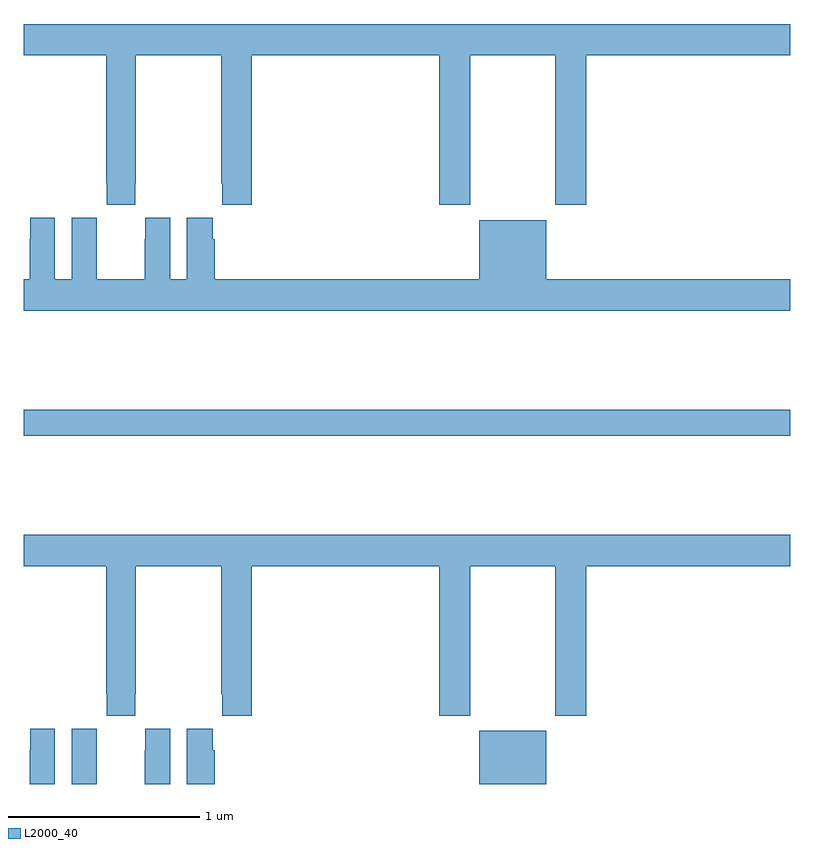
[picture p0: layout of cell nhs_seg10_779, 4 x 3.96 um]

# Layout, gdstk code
import gdstk
lib = gdstk.Library(unit=1e-6, precision=1e-09)
def R(c, l, rs):  # rectangles x0, y0, x1, y1
    for r in rs: c.add(gdstk.rectangle(r[:2], r[2:], *l))
def P(c, l, *ps):  # polygons
    for p in ps: c.add(gdstk.Polygon(p, *l))
L2000_40 = (2000, 40)

nhs_seg10_779 = lib.new_cell('nhs_seg10_779')
R(nhs_seg10_779, L2000_40, [(151.376,1312.5,151.726,1312.777), (149,1314.316,153,1314.452)])
P(nhs_seg10_779, L2000_40, [(149.583,1315.633),(149.586,1315.633),(149.586,1316.3),(150.031,1316.3),(150.031,1315.633),(150.037,1315.633),(150.037,1315.521),(150.191,1315.521),(150.191,1316.3),(151.169,1316.3),(151.169,1315.521),(151.329,1315.521),(151.329,1316.3),(151.774,1316.3),(151.774,1315.521),(151.934,1315.521),(151.934,1316.3),(153,1316.3),(153,1316.464),(149,1316.464),(149,1316.3),(149.431,1316.3),(149.431,1315.633),(149.433,1315.633),(149.433,1315.521),(149.583,1315.521)],
  [(153,1315.132),(151.726,1315.132),(151.726,1315.441),(151.376,1315.441),(151.376,1315.132),(149.996,1315.132),(149.996,1315.34),(149.986,1315.34),(149.986,1315.453),(149.852,1315.453),(149.852,1315.132),(149.764,1315.132),(149.764,1315.453),(149.634,1315.453),(149.634,1315.34),(149.633,1315.34),(149.633,1315.132),(149.383,1315.132),(149.383,1315.34),(149.382,1315.34),(149.382,1315.453),(149.252,1315.453),(149.252,1315.132),(149.164,1315.132),(149.164,1315.453),(149.034,1315.453),(149.034,1315.34),(149.033,1315.34),(149.033,1315.132),(149,1315.132),(149,1314.968),(153,1314.968)],
  [(149.583,1312.969),(149.586,1312.969),(149.586,1313.636),(150.031,1313.636),(150.031,1312.969),(150.037,1312.969),(150.037,1312.857),(150.191,1312.857),(150.191,1313.636),(151.169,1313.636),(151.169,1312.857),(151.329,1312.857),(151.329,1313.636),(151.774,1313.636),(151.774,1312.857),(151.934,1312.857),(151.934,1313.636),(153,1313.636),(153,1313.8),(149,1313.8),(149,1313.636),(149.431,1313.636),(149.431,1312.969),(149.433,1312.969),(149.433,1312.857),(149.583,1312.857)],
  [(149.996,1312.676),(149.986,1312.676),(149.986,1312.789),(149.852,1312.789),(149.852,1312.5),(149.996,1312.5)],
  [(149.764,1312.789),(149.634,1312.789),(149.634,1312.676),(149.633,1312.676),(149.633,1312.5),(149.764,1312.5)],
  [(149.383,1312.676),(149.382,1312.676),(149.382,1312.789),(149.252,1312.789),(149.252,1312.5),(149.383,1312.5)],
  [(149.164,1312.789),(149.034,1312.789),(149.034,1312.676),(149.033,1312.676),(149.033,1312.5),(149.164,1312.5)])

lib.write_gds('nhs_seg10_779.gds')
